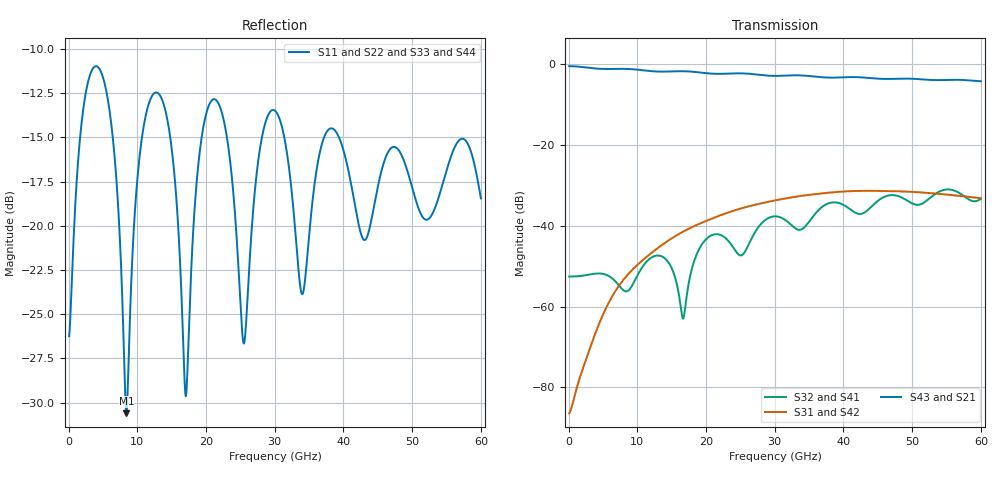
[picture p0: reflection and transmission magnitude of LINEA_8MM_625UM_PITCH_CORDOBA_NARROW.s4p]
! TOUCHSTONE file generated by CST MICROWAVE STUDIO
! Date and time: Thu Oct 29 13:48:41 2026
! Project name: LINEA_8MM_625UM_PITCH_CORDOBA_NARROW.cst
! Parameters = {CHANNEL_PITCH=0.625; GAP=0.00415; L=8; L1=0.02; L2=0.086; L3=0.066; NCELL=1; PITCH=0.18; START_POSITION=0.13; W1=0.003; W2=0.004; W3=0.009; WG=0.025; gap_oxr=0.00125; linbo3_thickness=0.0002; mtx=0.002; oxiDinE=0.0014; w=0.185; ws=0.01}
! Header version: 2024
! Port assignment regex: !\s*Touchstone port\s*([0-9]+)\s*=\s*(CST MWS port|CST DES external port|CST DES block port)\s*(.+)\s* \(\"(.*)\"\)(\s*mode\s*([0-9]+))?.*
! Touchstone port assignment:
! Touchstone port 1 = CST MWS port 1 ("")
! Touchstone port 2 = CST MWS port 2 ("")
! Touchstone port 3 = CST MWS port 3 ("")
! Touchstone port 4 = CST MWS port 4 ("")
# GHz S MA R 50
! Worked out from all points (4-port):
!   1000 points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, 60 MHz to 60 GHz, reference 50 ohm
!   strongest paths, dB at 60 MHz, 15.06 GHz, 30.06 GHz, 45.06 GHz, 60 GHz:
!     S43: -0.4, -1.7, -2.8, -3.5, -4.2
!     S21: -0.4, -1.7, -2.8, -3.5, -4.2
!     S31: -86.5, -43.0, -33.7, -31.3, -33.2
!     S42: -86.5, -43.0, -33.7, -31.3, -33.1
!     S32: -52.6, -50.8, -37.6, -33.7, -33.3
!     S41: -52.6, -50.8, -37.6, -33.7, -33.3
!   lowest |S11| = -30.6 dB at 8.4 GHz (marker M1), VSWR 1.06, Z = 53 - j0.525 ohm
!   |S11| at or under -10 dB: start of sweep to end of sweep
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0.06  0.04872 6.6  0.9523 -1.4  4.735e-05 1.5  0.002352 176.1
      0.9523 -1.4  0.04872 6.6  0.002352 176.1  4.744e-05 1.5
      4.748e-05 1.5  0.002352 176.1  0.04872 6.6  0.9523 -1.4
      0.002352 176.1  4.756e-05 1.5  0.9523 -1.4  0.04872 6.6
8.4  0.02949 -9.7  0.8812 -179.1  0.002375 -14.8  0.001539 -8.7
     0.8812 -179.1  0.02952 -9.7  0.001539 -8.7  0.002375 -14.8
     0.002375 -14.8  0.001539 -8.7  0.02949 -9.7  0.8812 -179.1
     0.001539 -8.7  0.002375 -14.8  0.8812 -179.1  0.02952 -9.7
16.98  0.03347 -17.0  0.8232 2.1  0.008768 -42.5  0.001008 24.6
       0.8232 2.1  0.03338 -17.1  0.001008 24.6  0.008768 -42.5
       0.008768 -42.5  0.001007 24.5  0.03346 -17.0  0.8232 2.1
       0.001007 24.5  0.008768 -42.5  0.8232 2.1  0.03338 -17.0
25.38  0.0472 -17.7  0.7747 -171.8  0.01671 -61.5  0.004448 169.4
       0.7747 -171.8  0.04735 -17.6  0.004448 169.4  0.01671 -61.5
       0.01671 -61.5  0.004447 169.4  0.0472 -17.7  0.7747 -171.8
       0.004448 169.4  0.0167 -61.5  0.7747 -171.8  0.04735 -17.6
34.32  0.06808 2.6  0.7277 3.4  0.0238 -106.7  0.009599 -28.1
       0.7277 3.4  0.06795 2.6  0.009598 -28.1  0.02381 -106.7
       0.0238 -106.7  0.009597 -28.1  0.06808 2.6  0.7277 3.4
       0.009596 -28.1  0.02381 -106.7  0.7277 3.4  0.06794 2.7
42.6  0.09414 -20.8  0.6917 -166.8  0.02711 -122.1  0.01409 135.4
      0.6917 -166.8  0.09436 -20.7  0.01409 135.3  0.02711 -122.0
      0.02711 -122.1  0.01409 135.3  0.09413 -20.8  0.6917 -166.8
      0.01409 135.3  0.02711 -122.0  0.6917 -166.8  0.09435 -20.7
60  0.1195 -32.6  0.6189 -164.9  0.02198 170.1  0.02171 111.3
    0.6189 -164.9  0.1194 -32.6  0.02171 111.3  0.022 170.2
    0.02199 170.1  0.0217 111.3  0.1195 -32.6  0.6189 -164.9
    0.0217 111.3  0.02201 170.2  0.6189 -164.9  0.1194 -32.6
